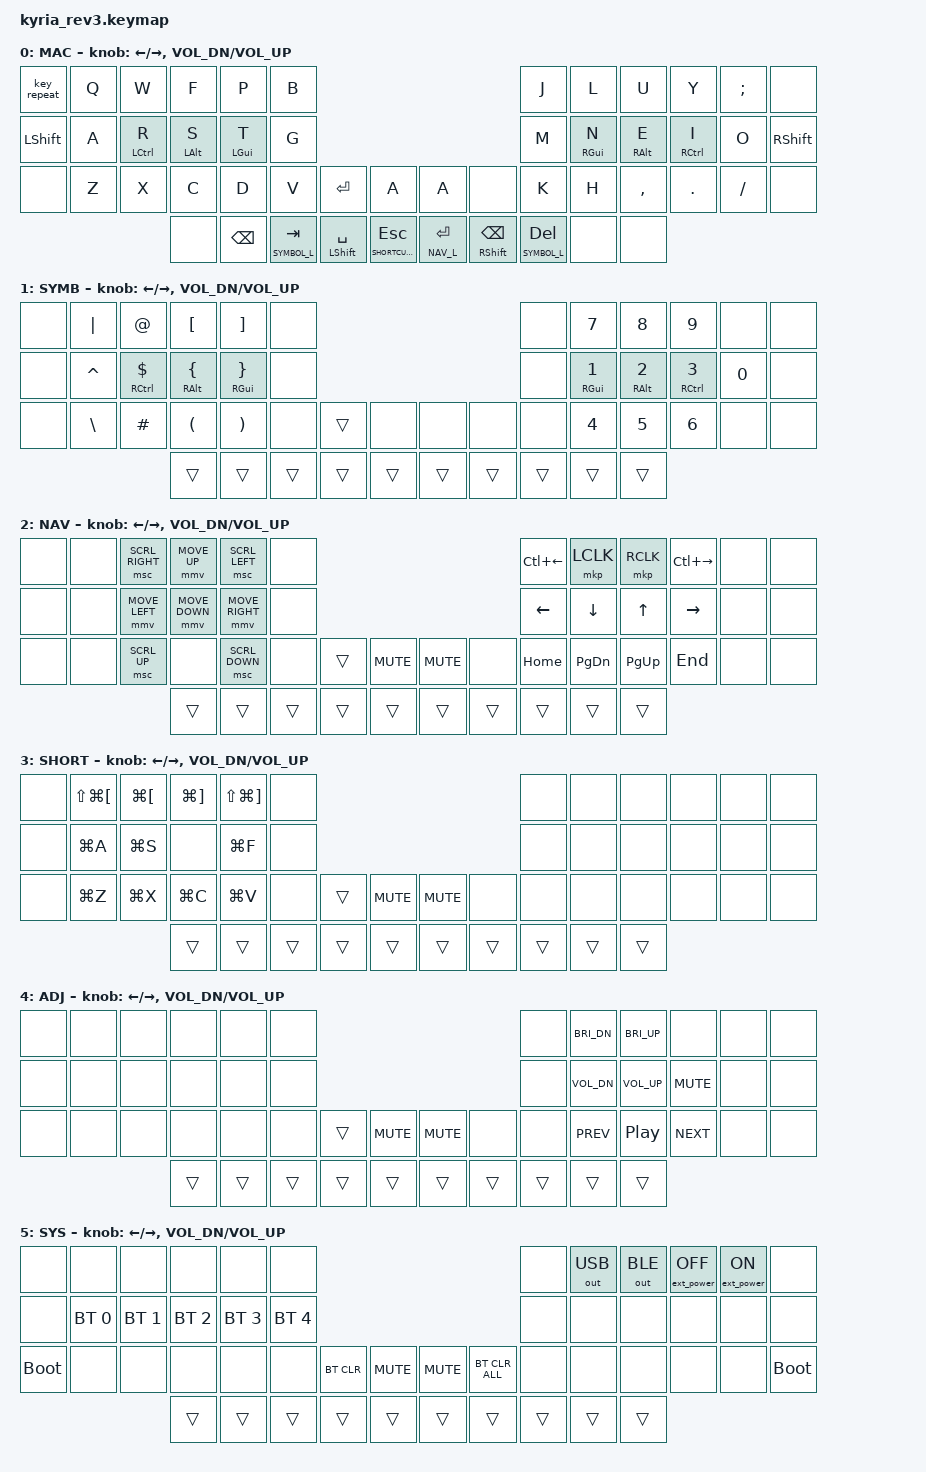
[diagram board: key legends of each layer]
#include <behaviors.dtsi>
#include <dt-bindings/zmk/bt.h>
#include <dt-bindings/zmk/ext_power.h>
#include <dt-bindings/zmk/keys.h>
#include <dt-bindings/zmk/outputs.h>

/* ╔════════════════════════════════════════════════════════════════════════════════════════════════╗
   ║                                      MOUSE CONFIGURATION                                        ║
   ╚════════════════════════════════════════════════════════════════════════════════════════════════╝ */

#define ZMK_POINTING_DEFAULT_MOVE_VAL 2000
#define ZMK_POINTING_DEFAULT_SCRL_VAL 10

#include <dt-bindings/zmk/pointing.h>

&mmv {
  acceleration-exponent = <1>;
  time-to-max-speed-ms = <500>;
  delay-ms = <0>;
};

&msc {
  acceleration-exponent = <0>;
  time-to-max-speed-ms = <300>;
  delay-ms = <0>;
};

/* ╔════════════════════════════════════════════════════════════════════════════════════════════════╗
   ║                                      LAYER DEFINITIONS                                         ║
   ╚════════════════════════════════════════════════════════════════════════════════════════════════╝ */

#define MAC_L       0
#define SYMBOL_L    1
#define NAV_L       2
#define SHORTCUTS_L 3
#define ADJ_L       4
#define SYSTEM_L    5

/* ╔════════════════════════════════════════════════════════════════════════════════════════════════╗
   ║                                       MAC SHORTCUTS                                            ║
   ╚════════════════════════════════════════════════════════════════════════════════════════════════╝ */

// Common editing shortcuts (Cmd-based for Mac)
#define Undo      &kp LG(Z)
#define Cut       &kp LG(X)
#define Copy      &kp LG(C)
#define Paste     &kp LG(V)
#define Find      &kp LG(F)
#define Save      &kp LG(S)
#define SelectAll &kp LG(A)

// Navigation shortcuts
#define Forward   &kp LG(RBKT)
#define Back      &kp LG(LBKT)
#define Next      &kp LS(LG(RBKT))
#define Previous  &kp LS(LG(LBKT))

// Desktop/Space navigation
#define DesktopLeft   &kp LC(LEFT_ARROW)
#define DesktopRight  &kp LC(RIGHT_ARROW)

/* ╔════════════════════════════════════════════════════════════════════════════════════════════════╗
   ║                                  KYRIA KEY POSITION REFERENCE                                  ║
   ╠════════════════════════════════════════════════════════════════════════════════════════════════╣
   ║                                                                                                ║
   ║    ╭────────────────────────────────╮                 ╭────────────────────────────────╮       ║
   ║    │  0   1   2   3   4   5         │                 │          6   7   8   9  10  11 │       ║
   ║    │ 12  13  14  15  16  17         │                 │         18  19  20  21  22  23 │       ║
   ║    │ 24  25  26  27  28  29  30  31 │                 │ 32  33  34  35  36  37  38  39 │       ║
   ║    ╰───────────────╮ 40  41  42  43 44               45 46  47  48  49 ╭───────────────╯       ║
   ║                    ╰────────────────╯                 ╰────────────────╯                       ║
   ║                                                                                                ║
   ║    Left hand keys:  0-5, 12-17, 24-31, 40-44                                                   ║
   ║    Right hand keys: 6-11, 18-23, 32-39, 45-49                                                  ║
   ║                                                                                                ║
   ╚════════════════════════════════════════════════════════════════════════════════════════════════╝ */

#define KEYS_L 0 1 2 3 4 5 12 13 14 15 16 17 24 25 26 27 28 29 30 31
#define KEYS_R 6 7 8 9 10 11 18 19 20 21 22 23 32 33 34 35 36 37 38 39
#define THUMBS 40 41 42 43 44 45 46 47 48 49

/* ╔════════════════════════════════════════════════════════════════════════════════════════════════╗
   ║                                         BEHAVIORS                                              ║
   ╚════════════════════════════════════════════════════════════════════════════════════════════════╝ */

/ {
    behaviors {
        /* ─────────────────────────────────────────────────────────────────────────────────────────────────────
         * Home Row Mods - Left Hand
         * Balanced flavor with positional hold-trigger (only activates when opposite hand keys are pressed)
         * ───────────────────────────────────────────────────────────────────────────────────────────────────── */
        hml: homerow_mods_left {
            compatible = "zmk,behavior-hold-tap";
            #binding-cells = <2>;
            flavor = "balanced";
            tapping-term-ms = <280>;
            quick-tap-ms = <175>;
            require-prior-idle-ms = <150>;
            bindings = <&kp>, <&kp>;
            hold-trigger-key-positions = <KEYS_R THUMBS>;
            hold-trigger-on-release;
        };

        /* ─────────────────────────────────────────────────────────────────────────────────────────────────────
         * Home Row Mods - Right Hand
         * ───────────────────────────────────────────────────────────────────────────────────────────────────── */
        hmr: homerow_mods_right {
            compatible = "zmk,behavior-hold-tap";
            #binding-cells = <2>;
            flavor = "balanced";
            tapping-term-ms = <280>;
            quick-tap-ms = <175>;
            require-prior-idle-ms = <150>;
            bindings = <&kp>, <&kp>;
            hold-trigger-key-positions = <KEYS_L THUMBS>;
            hold-trigger-on-release;
        };

        /* ─────────────────────────────────────────────────────────────────────────────────────────────────────
         * Thumb Mod-Tap
         * Hold-preferred for thumb keys (Shift-Space, Shift-Backspace)
         * ───────────────────────────────────────────────────────────────────────────────────────────────────── */
        thumb_mt: thumb_mod_tap {
            compatible = "zmk,behavior-hold-tap";
            #binding-cells = <2>;
            flavor = "hold-preferred";
            tapping-term-ms = <220>;
            quick-tap-ms = <190>;
            bindings = <&kp>, <&kp>;
        };
    };

    /* ═══════════════════════════════════════════════════════════════════════════════════════════════════════
     *                                     CONDITIONAL LAYERS
     * ═══════════════════════════════════════════════════════════════════════════════════════════════════════
     * ADJ layer:    Activated when SHORTCUTS + NAV are held together
     * SYSTEM layer: Activated when SYMBOL + NAV are held together
     * ─────────────────────────────────────────────────────────────────────────────────────────────────────── */
    conditional_layers {
        compatible = "zmk,conditional-layers";

        adjust_layer {
            if-layers = <SHORTCUTS_L NAV_L>;
            then-layer = <ADJ_L>;
        };

        system_layer {
            if-layers = <SYMBOL_L NAV_L>;
            then-layer = <SYSTEM_L>;
        };
    };

    /* ═══════════════════════════════════════════════════════════════════════════════════════════════════════
     *                                           KEYMAP
     * ═══════════════════════════════════════════════════════════════════════════════════════════════════════ */
    keymap {
        compatible = "zmk,keymap";

        /* ─────────────────────────────────────────────────────────────────────────────────────────────────────
         * MAC Layer (Default)
         * Colemak-DH with home row mods
         *
         * Home row mods: A=plain, R=Ctrl, S=Alt, T=Gui (left)
         *                N=Gui, E=Alt, I=Ctrl, O=plain (right)
         * ───────────────────────────────────────────────────────────────────────────────────────────────────── */
        mac_layer {
            display-name = "MAC";

            bindings = <
// ╭────────────────────┬────────────────────┬────────────────────┬────────────────────┬────────────────────┬────────────────────╮                                                                                           ╭────────────────────┬────────────────────┬────────────────────┬────────────────────┬────────────────────┬────────────────────╮
    &key_repeat          &kp Q                &kp W                &kp F                &kp P                &kp B                                                                                                            &kp J                &kp L                &kp U                &kp Y                &kp SEMI             &none
// ├────────────────────┼────────────────────┼────────────────────┼────────────────────┼────────────────────┼────────────────────┤                                                                                           ├────────────────────┼────────────────────┼────────────────────┼────────────────────┼────────────────────┼────────────────────┤
    &kp LSHIFT           &kp A                &hml LCTRL R         &hml LALT S          &hml LGUI T          &kp G                                                                                                            &kp M                &hmr RGUI N          &hmr RALT E          &hmr RCTRL I         &kp O                &kp RSHIFT
// ├────────────────────┼────────────────────┼────────────────────┼────────────────────┼────────────────────┼────────────────────┼────────────────────┬────────────────────╮       ├────────────────────┬──-─────────────────┼────────────────────┼────────────────────┼────────────────────┼────────────────────┼────────────────────┼────────────────────┤
    &none                &kp Z                &kp X                &kp C                &kp D                &kp V                &kp ENTER            &kp A                        &kp A                &none                &kp K                &kp H                &kp COMMA            &kp DOT              &kp SLASH            &none
// ╰────────────────────┴────────────────────┴────────────────────┼────────────────────┼────────────────────┼────────────────────┼────────────────────┼────────────────────┤       ├────────────────────┼────────────────────┼────────────────────┼────────────────────┼────────────────────┼────────────────────┴────────────────────┴────────────────────╯
                                                                   &none                &kp BSPC             &lt SYMBOL_L TAB     &thumb_mt LSHIFT SPACE   &lt SHORTCUTS_L ESC      &lt NAV_L ENTER      &thumb_mt RSHIFT BSPC  &lt SYMBOL_L DEL   &none                &none
//                                                                ╰────────────────────┴────────────────────┴────────────────────┴────────────────────┴────────────────────╯       ╰────────────────────┴────────────────────┴────────────────────┴────────────────────┴────────────────────╯
            >;

            sensor-bindings = <&inc_dec_kp LEFT RIGHT &inc_dec_kp C_VOL_DN C_VOL_UP>;
        };

        /* ─────────────────────────────────────────────────────────────────────────────────────────────────────
         * SYMBOL Layer
         * Symbols on the left, number pad on the right
         *
         * Left side:  | @ [ ]     (top)
         *             ^ $ { }     (home - with HRMs)
         *             \ # ( )     (bottom)
         *
         * Right side: 7 8 9       (top)
         *             1 2 3 0     (home - with HRMs)
         *             4 5 6       (bottom)
         * ───────────────────────────────────────────────────────────────────────────────────────────────────── */
        symbol_layer {
            display-name = "SYMB";

            bindings = <
// ╭────────────────────┬────────────────────┬────────────────────┬────────────────────┬────────────────────┬────────────────────╮                                                                                           ╭────────────────────┬────────────────────┬────────────────────┬────────────────────┬────────────────────┬────────────────────╮
    &none                &kp PIPE             &kp AT               &kp LBKT             &kp RBKT             &none                                                                                                            &none                &kp N7               &kp N8               &kp N9               &none                &none
// ├────────────────────┼────────────────────┼────────────────────┼────────────────────┼────────────────────┼────────────────────┤                                                                                           ├────────────────────┼────────────────────┼────────────────────┼────────────────────┼────────────────────┼────────────────────┤
    &none                &kp CARET            &hmr RCTRL DLLR      &hmr RALT LBRC       &hmr RGUI RBRC       &none                                                                                                            &none                &hmr RGUI N1         &hmr RALT N2         &hmr RCTRL N3        &kp N0               &none
// ├────────────────────┼────────────────────┼────────────────────┼────────────────────┼────────────────────┼────────────────────┼────────────────────┬────────────────────╮       ├────────────────────┬────────────────────┼────────────────────┼────────────────────┼────────────────────┼────────────────────┼────────────────────┼────────────────────┤
    &none                &kp BSLH             &kp HASH             &kp LPAR             &kp RPAR             &none                &trans               &none                        &none                &none                &none                &kp N4               &kp N5               &kp N6               &none                &none
// ╰────────────────────┴────────────────────┴────────────────────┼────────────────────┼────────────────────┼────────────────────┼────────────────────┼────────────────────┤       ├────────────────────┼────────────────────┼────────────────────┼────────────────────┼────────────────────┼────────────────────┴────────────────────┴────────────────────╯
                                                                   &trans               &trans               &trans               &trans               &trans                       &trans               &trans               &trans               &trans               &trans
//                                                                ╰────────────────────┴────────────────────┴────────────────────┴────────────────────┴────────────────────╯       ╰────────────────────┴────────────────────┴────────────────────┴────────────────────┴────────────────────╯
            >;

            sensor-bindings = <&inc_dec_kp LEFT RIGHT &inc_dec_kp C_VOL_DN C_VOL_UP>;
        };

        /* ─────────────────────────────────────────────────────────────────────────────────────────────────────
         * NAV Layer
         * Left side: Mouse movement and scroll (WASD style)
         * Right side: Arrow keys, page navigation, desktop switching, mouse clicks
         * ───────────────────────────────────────────────────────────────────────────────────────────────────── */
        nav_layer {
            display-name = "NAV";

            bindings = <
// ╭────────────────────┬────────────────────┬────────────────────┬────────────────────┬────────────────────┬────────────────────╮                                                                                           ╭────────────────────┬────────────────────┬────────────────────┬────────────────────┬────────────────────┬────────────────────╮
    &none                &none                &msc SCRL_RIGHT      &mmv MOVE_UP         &msc SCRL_LEFT       &none                                                                                                            DesktopLeft          &mkp LCLK            &mkp RCLK            DesktopRight         &none                &none
// ├────────────────────┼────────────────────┼────────────────────┼────────────────────┼────────────────────┼────────────────────┤                                                                                           ├────────────────────┼────────────────────┼────────────────────┼────────────────────┼────────────────────┼────────────────────┤
    &none                &none                &mmv MOVE_LEFT       &mmv MOVE_DOWN       &mmv MOVE_RIGHT      &none                                                                                                            &kp LEFT             &kp DOWN             &kp UP               &kp RIGHT            &none                &none
// ├────────────────────┼────────────────────┼────────────────────┼────────────────────┼────────────────────┼────────────────────┼────────────────────┬────────────────────╮       ├────────────────────┬────────────────────┼────────────────────┼────────────────────┼────────────────────┼────────────────────┼────────────────────┼────────────────────┤
    &none                &none                &msc SCRL_UP         &none                &msc SCRL_DOWN       &none                &trans               &kp C_MUTE                   &kp C_MUTE           &none                &kp HOME             &kp PG_DN            &kp PG_UP            &kp END              &none                &none
// ╰────────────────────┴────────────────────┴────────────────────┼────────────────────┼────────────────────┼────────────────────┼────────────────────┼────────────────────┤       ├────────────────────┼────────────────────┼────────────────────┼────────────────────┼────────────────────┼────────────────────┴────────────────────┴────────────────────╯
                                                                   &trans               &trans               &trans               &trans               &trans                       &trans               &trans               &trans               &trans               &trans
//                                                                ╰────────────────────┴────────────────────┴────────────────────┴────────────────────┴────────────────────╯       ╰────────────────────┴────────────────────┴────────────────────┴────────────────────┴────────────────────╯
            >;

            sensor-bindings = <&inc_dec_kp LEFT RIGHT &inc_dec_kp C_VOL_DN C_VOL_UP>;
        };

        /* ─────────────────────────────────────────────────────────────────────────────────────────────────────
         * SHORTCUTS Layer
         * Common Mac shortcuts and Vim navigation
         *
         * Left side:  Previous/Next (browser tabs), Back/Forward (history)
         *             SelectAll, Save, Find
         *             Undo, Cut, Copy, Paste
         *
         * Right side: Vim tab navigation, Ctrl-O/I (jump list)
         * ───────────────────────────────────────────────────────────────────────────────────────────────────── */
        shortcuts_layer {
            display-name = "SHORT";

            bindings = <
// ╭────────────────────┬────────────────────┬────────────────────┬────────────────────┬────────────────────┬────────────────────╮                                                                                           ╭────────────────────┬────────────────────┬────────────────────┬────────────────────┬────────────────────┬────────────────────╮
    &none                Previous             Back                 Forward              Next                 &none                                                                                                            &none                &none                &none                &none                &none                &none
// ├────────────────────┼────────────────────┼────────────────────┼────────────────────┼────────────────────┼────────────────────┤                                                                                           ├────────────────────┼────────────────────┼────────────────────┼────────────────────┼────────────────────┼────────────────────┤
    &none                SelectAll            Save                 &none                Find                 &none                                                                                                            &none                &none                &none                &none                &none                &none
// ├────────────────────┼────────────────────┼────────────────────┼────────────────────┼────────────────────┼────────────────────┼────────────────────┬────────────────────╮       ├────────────────────┬────────────────────┼────────────────────┼────────────────────┼────────────────────┼────────────────────┼────────────────────┼────────────────────┤
    &none                Undo                 Cut                  Copy                 Paste                &none                &trans               &kp C_MUTE                   &kp C_MUTE           &none                &none                &none                &none                &none                &none                &none
// ╰────────────────────┴────────────────────┴────────────────────┼────────────────────┼────────────────────┼────────────────────┼────────────────────┼────────────────────┤       ├────────────────────┼────────────────────┼────────────────────┼────────────────────┼────────────────────┼────────────────────┴────────────────────┴────────────────────╯
                                                                   &trans               &trans               &trans               &trans               &trans                       &trans               &trans               &trans               &trans               &trans
//                                                                ╰────────────────────┴────────────────────┴────────────────────┴────────────────────┴────────────────────╯       ╰────────────────────┴────────────────────┴────────────────────┴────────────────────┴────────────────────╯
            >;

            sensor-bindings = <&inc_dec_kp LEFT RIGHT &inc_dec_kp C_VOL_DN C_VOL_UP>;
        };

        /* ─────────────────────────────────────────────────────────────────────────────────────────────────────
         * ADJ Layer (Adjustment)
         * Activated by holding SHORTCUTS + NAV simultaneously
         *
         * Brightness, volume, and media controls
         * ───────────────────────────────────────────────────────────────────────────────────────────────────── */
        adj_layer {
            display-name = "ADJ";

            bindings = <
// ╭────────────────────┬────────────────────┬────────────────────┬────────────────────┬────────────────────┬────────────────────╮                                                                                           ╭────────────────────┬────────────────────┬────────────────────┬────────────────────┬────────────────────┬────────────────────╮
    &none                &none                &none                &none                &none                &none                                                                                                            &none                &kp C_BRI_DN         &kp C_BRI_UP         &none                &none                &none
// ├────────────────────┼────────────────────┼────────────────────┼────────────────────┼────────────────────┼────────────────────┤                                                                                           ├────────────────────┼────────────────────┼────────────────────┼────────────────────┼────────────────────┼────────────────────┤
    &none                &none                &none                &none                &none                &none                                                                                                            &none                &kp C_VOL_DN         &kp C_VOL_UP         &kp C_MUTE           &none                &none
// ├────────────────────┼────────────────────┼────────────────────┼────────────────────┼────────────────────┼────────────────────┼────────────────────┬────────────────────╮       ├────────────────────┬────────────────────┼────────────────────┼────────────────────┼────────────────────┼────────────────────┼────────────────────┼────────────────────┤
    &none                &none                &none                &none                &none                &none                &trans               &kp C_MUTE                   &kp C_MUTE           &none                &none                &kp C_PREV           &kp C_PP             &kp C_NEXT           &none                &none
// ╰────────────────────┴────────────────────┴────────────────────┼────────────────────┼────────────────────┼────────────────────┼────────────────────┼────────────────────┤       ├────────────────────┼────────────────────┼────────────────────┼────────────────────┼────────────────────┼────────────────────┴────────────────────┴────────────────────╯
                                                                   &trans               &trans               &trans               &trans               &trans                       &trans               &trans               &trans               &trans               &trans
//                                                                ╰────────────────────┴────────────────────┴────────────────────┴────────────────────┴────────────────────╯       ╰────────────────────┴────────────────────┴────────────────────┴────────────────────┴────────────────────╯
            >;

            sensor-bindings = <&inc_dec_kp LEFT RIGHT &inc_dec_kp C_VOL_DN C_VOL_UP>;
        };

        /* ─────────────────────────────────────────────────────────────────────────────────────────────────────
         * SYSTEM Layer
         * Activated by holding SYMBOL + NAV simultaneously
         *
         * Bluetooth profile selection, output toggle, external power,
         * and bootloader access for flashing firmware
         *
         * Left side:  BT profile select (0-4)
         * Right side: USB/BLE output, external power, bootloader
         * ───────────────────────────────────────────────────────────────────────────────────────────────────── */
        system_layer {
            display-name = "SYS";

            bindings = <
// ╭────────────────────┬────────────────────┬────────────────────┬────────────────────┬────────────────────┬────────────────────╮                                                                                           ╭────────────────────┬────────────────────┬────────────────────┬────────────────────┬────────────────────┬────────────────────╮
    &none                &none                &none                &none                &none                &none                                                                                                            &none                &out OUT_USB         &out OUT_BLE         &ext_power EP_OFF    &ext_power EP_ON     &none
// ├────────────────────┼────────────────────┼────────────────────┼────────────────────┼────────────────────┼────────────────────┤                                                                                           ├────────────────────┼────────────────────┼────────────────────┼────────────────────┼────────────────────┼────────────────────┤
    &none                &bt BT_SEL 0         &bt BT_SEL 1         &bt BT_SEL 2         &bt BT_SEL 3         &bt BT_SEL 4                                                                                                     &none                &none                &none                &none                &none                &none
// ├────────────────────┼────────────────────┼────────────────────┼────────────────────┼────────────────────┼────────────────────┼────────────────────┬────────────────────╮       ├────────────────────┬────────────────────┼────────────────────┼────────────────────┼────────────────────┼────────────────────┼────────────────────┼────────────────────┤
    &bootloader          &none                &none                &none                &none                &none                &bt BT_CLR           &kp C_MUTE                   &kp C_MUTE           &bt BT_CLR_ALL       &none                &none                &none                &none                &none                &bootloader
// ╰────────────────────┴────────────────────┴────────────────────┼────────────────────┼────────────────────┼────────────────────┼────────────────────┼────────────────────┤       ├────────────────────┼────────────────────┼────────────────────┼────────────────────┼────────────────────┼────────────────────┴────────────────────┴────────────────────╯
                                                                   &trans               &trans               &trans               &trans               &trans                       &trans               &trans               &trans               &trans               &trans
//                                                                ╰────────────────────┴────────────────────┴────────────────────┴────────────────────┴────────────────────╯       ╰────────────────────┴────────────────────┴────────────────────┴────────────────────┴────────────────────╯
            >;

            sensor-bindings = <&inc_dec_kp LEFT RIGHT &inc_dec_kp C_VOL_DN C_VOL_UP>;
        };
    };
};

/* ╔════════════════════════════════════════════════════════════════════════════════════════════════╗
   ║                                          COMBOS                                                ║
   ╠════════════════════════════════════════════════════════════════════════════════════════════════╣
   ║  Vertical combos for commonly used symbols                                                     ║
   ║                                                                                                ║
   ║  Left hand:                              Right hand:                                           ║
   ║   P+T = -    F+S = +                      L+N = '    U+E = "                                   ║
   ║   T+D = =    S+C = !                      N+H = _    E+, = %                                   ║
   ║   R+X = `    W+R = ~                      Y+I = *    I+. = &                                   ║
   ║                                                                                                ║
   ╚════════════════════════════════════════════════════════════════════════════════════════════════╝ */

/ {
    combos {
        compatible = "zmk,combos";

        // ─────────────────────────────────────────────────────────────────────────────────────────────────────
        // LEFT SIDE COMBOS
        // ─────────────────────────────────────────────────────────────────────────────────────────────────────

        // P + T = - (minus)
        combo_minus {
            timeout-ms = <30>;
            require-prior-idle-ms = <150>;
            key-positions = <4 16>;
            bindings = <&kp MINUS>;
            layers = <MAC_L>;
        };

        // F + S = + (plus)
        combo_plus {
            timeout-ms = <30>;
            require-prior-idle-ms = <150>;
            key-positions = <3 15>;
            bindings = <&kp PLUS>;
            layers = <MAC_L>;
        };

        // T + D = = (equal)
        combo_equal {
            timeout-ms = <30>;
            require-prior-idle-ms = <150>;
            key-positions = <16 28>;
            bindings = <&kp EQUAL>;
            layers = <MAC_L>;
        };

        // S + C = ! (exclamation)
        combo_excl {
            timeout-ms = <30>;
            require-prior-idle-ms = <150>;
            key-positions = <15 27>;
            bindings = <&kp EXCL>;
            layers = <MAC_L>;
        };

        // R + X = ` (grave)
        combo_grave {
            timeout-ms = <30>;
            require-prior-idle-ms = <150>;
            key-positions = <14 26>;
            bindings = <&kp GRAVE>;
            layers = <MAC_L>;
        };

        // W + R = ~ (tilde)
        combo_tilde {
            timeout-ms = <30>;
            require-prior-idle-ms = <150>;
            key-positions = <2 14>;
            bindings = <&kp TILDE>;
            layers = <MAC_L>;
        };

        // ─────────────────────────────────────────────────────────────────────────────────────────────────────
        // RIGHT SIDE COMBOS
        // ─────────────────────────────────────────────────────────────────────────────────────────────────────

        // L + N = ' (single quote)
        combo_sqt {
            timeout-ms = <30>;
            require-prior-idle-ms = <150>;
            key-positions = <7 19>;
            bindings = <&kp SQT>;
            layers = <MAC_L>;
        };

        // U + E = " (double quote)
        combo_dqt {
            timeout-ms = <30>;
            require-prior-idle-ms = <150>;
            key-positions = <8 20>;
            bindings = <&kp DQT>;
            layers = <MAC_L>;
        };

        // N + H = _ (underscore)
        combo_under {
            timeout-ms = <30>;
            require-prior-idle-ms = <150>;
            key-positions = <19 35>;
            bindings = <&kp UNDER>;
            layers = <MAC_L>;
        };

        // E + , = % (percent)
        combo_prcnt {
            timeout-ms = <30>;
            require-prior-idle-ms = <150>;
            key-positions = <20 36>;
            bindings = <&kp PRCNT>;
            layers = <MAC_L>;
        };

        // Y + I = * (asterisk)
        combo_astrk {
            timeout-ms = <30>;
            require-prior-idle-ms = <150>;
            key-positions = <9 21>;
            bindings = <&kp ASTRK>;
            layers = <MAC_L>;
        };

        // I + . = & (ampersand)
        combo_amps {
            timeout-ms = <30>;
            require-prior-idle-ms = <150>;
            key-positions = <21 37>;
            bindings = <&kp AMPS>;
            layers = <MAC_L>;
        };

        // ─────────────────────────────────────────────────────────────────────────────────────────────────────
        // UTILITY COMBOS
        // ─────────────────────────────────────────────────────────────────────────────────────────────────────

        // Both outer top keys = soft reset (clear stuck state)
        combo_soft_reset {
            timeout-ms = <50>;
            key-positions = <0 11>;
            bindings = <&sys_reset>;
            layers = <MAC_L SYMBOL_L NAV_L>;
        };

        // Dongle bootloader
        combo_bootloader {
            timeout-ms = <50>;
            key-positions = <12 23>;
            bindings = <&bootloader>;
            layers = <SYSTEM_L>;
        };
    };
};
